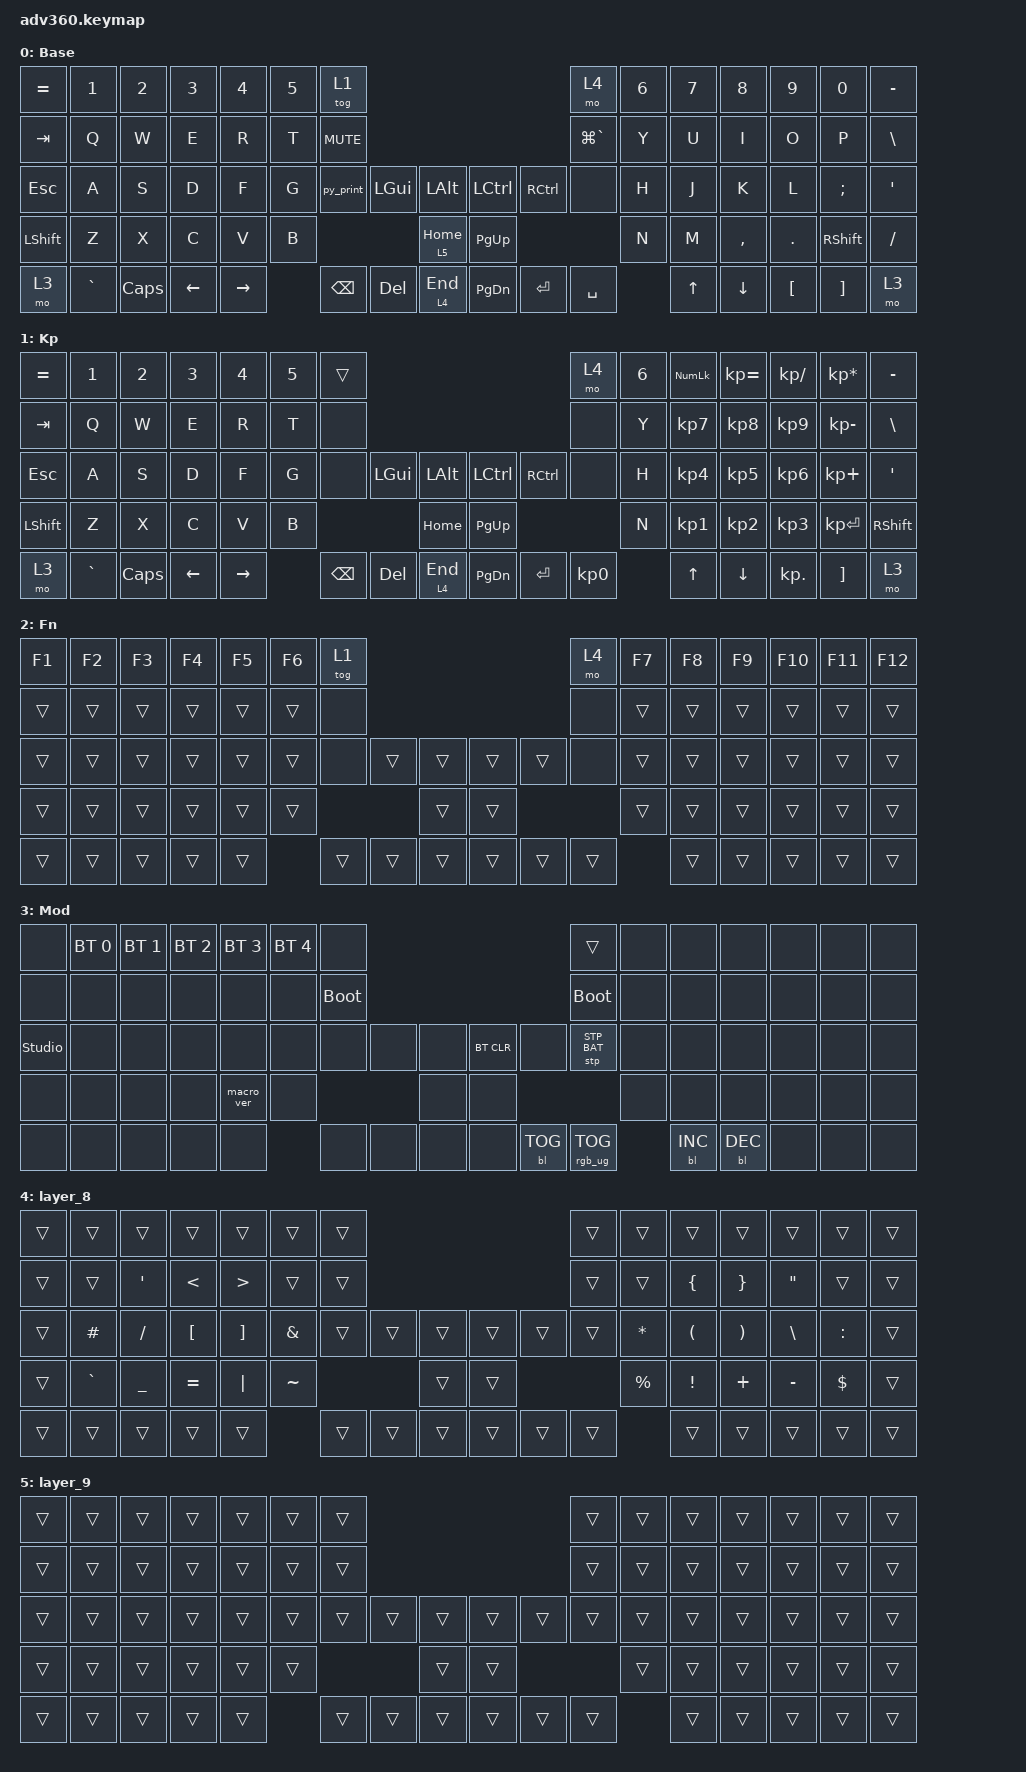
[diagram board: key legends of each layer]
#include <dt-bindings/zmk/stp.h>
#include <behaviors.dtsi>
#include <dt-bindings/zmk/backlight.h>
#include <dt-bindings/zmk/bt.h>
#include <dt-bindings/zmk/keys.h>
#include <dt-bindings/zmk/rgb.h>

/ {
    behaviors {
        #include "macros.dtsi"
      #include "version.dtsi"

        hm: homerow_mods {
            compatible = "zmk,behavior-hold-tap";
            label = "HOMEROW_MODS";
            #binding-cells = <2>;
            tapping-term-ms = <200>;
            quick_tap_ms = <175>;
            flavor = "tap-preferred";
            bindings = <&kp>, <&kp>;
        };
    };

    macros {
        py_print: python_print {
            compatible = "zmk,behavior-macro";
            #binding-cells = <0>;
            bindings = <&kp P &kp R &kp I &kp N &kp T &kp LPAR &kp DQT &kp DQT &kp RPAR &kp LEFT &kp LEFT>;
            label = "PYTHON_PRINT";
        };

        k8s_all_pods: k8s_nodes {
            compatible = "zmk,behavior-macro";
            #binding-cells = <0>;
            bindings = <&kp K &kp U &kp B &kp E &kp C &kp T &kp L &kp SPACE &kp G &kp E &kp T &kp SPACE &kp P &kp O &kp D &kp S &kp SPACE &kp MINUS &kp LS(A)>;
            label = "K8S_NODES";
        };
    };

    keymap {
        compatible = "zmk,keymap";

        default_layer {
            display-name = "Base";
            bindings = <
&kp EQUAL  &kp N1     &kp N2    &kp N3    &kp N4     &kp N5  &tog 1                                                      &mo 4          &kp N6  &kp N7  &kp N8     &kp N9    &kp N0      &kp MINUS
&kp TAB    &kp Q      &kp W     &kp E     &kp R      &kp T   &kp K_MUTE                                                  &kp LG(GRAVE)  &kp Y   &kp U   &kp I      &kp O     &kp P       &kp BSLH
&kp ESC    &kp A      &kp S     &kp D     &kp F      &kp G   &py_print   &kp LGUI  &kp LALT        &kp LCTRL  &kp RCTRL  &none          &kp H   &kp J   &kp K      &kp L     &kp SEMI    &kp SQT
&kp LSHFT  &kp Z      &kp X     &kp C     &kp V      &kp B                         &lt 5 HOME      &kp PG_UP                            &kp N   &kp M   &kp COMMA  &kp DOT   &kp RSHIFT  &kp FSLH
&mo 3      &kp GRAVE  &kp CAPS  &kp LEFT  &kp RIGHT          &kp BSPC    &kp DEL   &lt 4 END       &kp PG_DN  &kp ENTER  &kp SPACE              &kp UP  &kp DOWN   &kp LBKT  &kp RBKT    &mo 3
            >;
        };

        keypad {
            display-name = "Kp";
            bindings = <
&kp EQUAL  &kp N1     &kp N2    &kp N3    &kp N4     &kp N5  &trans                                                   &mo 4      &kp N6  &kp KP_NUM  &kp KP_EQUAL  &kp KP_DIVIDE  &kp KP_MULTIPLY  &kp MINUS
&kp TAB    &kp Q      &kp W     &kp E     &kp R      &kp T   &none                                                    &none      &kp Y   &kp KP_N7   &kp KP_N8     &kp KP_N9      &kp KP_MINUS     &kp BSLH
&kp ESC    &kp A      &kp S     &kp D     &kp F      &kp G   &none     &kp LGUI  &kp LALT       &kp LCTRL  &kp RCTRL  &none      &kp H   &kp KP_N4   &kp KP_N5     &kp KP_N6      &kp KP_PLUS      &kp SQT
&kp LSHFT  &kp Z      &kp X     &kp C     &kp V      &kp B                       &kp HOME       &kp PG_UP                        &kp N   &kp KP_N1   &kp KP_N2     &kp KP_N3      &kp KP_ENTER     &kp RSHFT
&mo 3      &kp GRAVE  &kp CAPS  &kp LEFT  &kp RIGHT          &kp BSPC  &kp DEL   &lt 4 END      &kp PG_DN  &kp ENTER  &kp KP_N0          &kp UP      &kp DOWN      &kp KP_DOT     &kp RBKT         &mo 3
            >;
        };

        fn {
            display-name = "Fn";
            bindings = <
&kp F1  &kp F2  &kp F3  &kp F4  &kp F5  &kp F6  &tog 1                                      &mo 4   &kp F7  &kp F8  &kp F9  &kp F10  &kp F11  &kp F12
&trans  &trans  &trans  &trans  &trans  &trans  &none                                       &none   &trans  &trans  &trans  &trans   &trans   &trans
&trans  &trans  &trans  &trans  &trans  &trans  &none   &trans  &trans      &trans  &trans  &none   &trans  &trans  &trans  &trans   &trans   &trans
&trans  &trans  &trans  &trans  &trans  &trans                  &trans      &trans                  &trans  &trans  &trans  &trans   &trans   &trans
&trans  &trans  &trans  &trans  &trans          &trans  &trans  &trans      &trans  &trans  &trans          &trans  &trans  &trans   &trans   &trans
            >;
        };

        mod {
            display-name = "Mod";
            bindings = <
&none           &bt BT_SEL 0  &bt BT_SEL 1  &bt BT_SEL 2  &bt BT_SEL 3  &bt BT_SEL 4  &none                                                  &trans           &none  &none       &none       &none  &none  &none
&none           &none         &none         &none         &none         &none         &bootloader                                            &bootloader      &none  &none       &none       &none  &none  &none
&studio_unlock  &none         &none         &none         &none         &none         &none        &none  &none      &bt BT_CLR  &none       &stp STP_BAT     &none  &none       &none       &none  &none  &none
&none           &none         &none         &none         &macro_ver    &none                             &none      &none                                    &none  &none       &none       &none  &none  &none
&none           &none         &none         &none         &none                       &none        &none  &none      &none       &bl BL_TOG  &rgb_ug RGB_TOG         &bl BL_INC  &bl BL_DEC  &none  &none  &none
            >;
        };

        layer_8 {
            bindings = <
&trans  &trans     &trans     &trans     &trans    &trans         &trans                                      &trans  &trans        &trans           &trans    &trans     &trans      &trans
&trans  &trans     &kp SQT    &kp LT     &kp GT    &trans         &trans                                      &trans  &trans        &kp LBRC         &kp RBRC  &kp DQT    &trans      &trans
&trans  &kp HASH   &kp FSLH   &kp LBKT   &kp RBKT  &kp AMPERSAND  &trans  &trans  &trans      &trans  &trans  &trans  &kp ASTERISK  &kp LPAR         &kp RPAR  &kp BSLH   &kp COLON   &trans
&trans  &kp GRAVE  &kp UNDER  &kp EQUAL  &kp PIPE  &kp TILDE                      &trans      &trans                  &kp PERCENT   &kp EXCLAMATION  &kp PLUS  &kp MINUS  &kp DOLLAR  &trans
&trans  &trans     &trans     &trans     &trans                   &trans  &trans  &trans      &trans  &trans  &trans                &trans           &trans    &trans     &trans      &trans
            >;
        };

        layer_9 {
            bindings = <
&trans  &trans  &trans  &trans  &trans  &trans  &trans                                      &trans  &trans  &trans  &trans  &trans  &trans  &trans
&trans  &trans  &trans  &trans  &trans  &trans  &trans                                      &trans  &trans  &trans  &trans  &trans  &trans  &trans
&trans  &trans  &trans  &trans  &trans  &trans  &trans  &trans  &trans      &trans  &trans  &trans  &trans  &trans  &trans  &trans  &trans  &trans
&trans  &trans  &trans  &trans  &trans  &trans                  &trans      &trans                  &trans  &trans  &trans  &trans  &trans  &trans
&trans  &trans  &trans  &trans  &trans          &trans  &trans  &trans      &trans  &trans  &trans          &trans  &trans  &trans  &trans  &trans
            >;
        };

        extra1 {
            display-name = "Red";
            status = "reserved";
        };

        extra2 {
            display-name = "Purple";
            status = "reserved";
        };

        extra3 {
            display-name = "Cyan";
            status = "reserved";
        };

        extra4 {
            display-name = "Yellow";
            status = "reserved";
        };
    };
};
